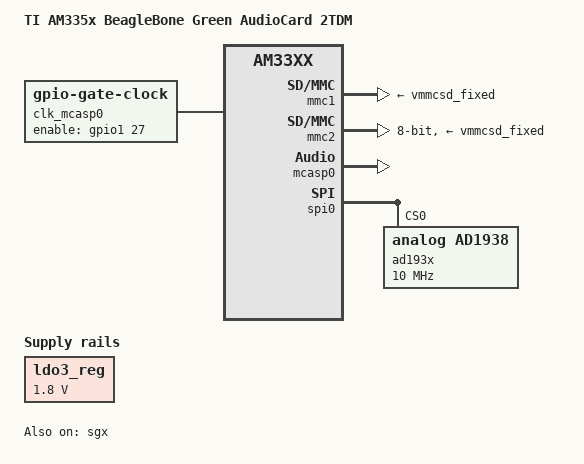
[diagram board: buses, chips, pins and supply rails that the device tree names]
/*
 * Copyright (C) 2012 Texas Instruments Incorporated - http://www.ti.com/
 *
 * This program is free software; you can redistribute it and/or modify
 * it under the terms of the GNU General Public License version 2 as
 * published by the Free Software Foundation.
 */
/dts-v1/;

#include "am33xx.dtsi"
#include "am335x-bone-common.dtsi"

/ {
	model = "TI AM335x BeagleBone Green AudioCard 2TDM";
	compatible = "ti,am335x-bone-green", "ti,am335x-bone-black", "ti,am335x-bone", "ti,am33xx";
};

&ldo3_reg {
	regulator-min-microvolt = <1800000>;
	regulator-max-microvolt = <1800000>;
	regulator-always-on;
};

&mmc1 {
	vmmc-supply = <&vmmcsd_fixed>;
};

&mmc2 {
	vmmc-supply = <&vmmcsd_fixed>;
	pinctrl-names = "default";
	pinctrl-0 = <&emmc_pins>;
	bus-width = <8>;
	status = "okay";
};

&sgx {
	status = "okay";
};

&am33xx_pinmux {
	mcasp0_pins: mcasp0_pins {
		pinctrl-single,pins = <
			0x1ac (PIN_INPUT_PULLUP | MUX_MODE0)	/* mcasp0_ahclkx.mcasp0_ahclkx */
			0x19c (PIN_OUTPUT_PULLDOWN | MUX_MODE2) /* mcasp0_ahclkr.mcasp0_axr2 */
			0x194 (PIN_INPUT_PULLDOWN | MUX_MODE0)	/* mcasp0_fsx.mcasp0_fsx */
			0x190 (PIN_INPUT_PULLDOWN | MUX_MODE0)	/* mcasp0_aclkx.mcasp0_aclkx */
			0x198 (PIN_INPUT_PULLDOWN | MUX_MODE0)	/* mcasp0_axr0.mcasp0_axr0 */
			0x06c (PIN_OUTPUT_PULLDOWN | MUX_MODE7)	/* gpmc_a11.GPIO1_27 */
			/*0x178 (PIN_OUTPUT_PULLUP | MUX_MODE7) /* reset for AD1938 AudioCard on P9_20 */
		>;
	};

	mcasp0_pins_sleep: mcasp0_pins_sleep {
		pinctrl-single,pins = <
			0x1ac (PIN_INPUT_PULLDOWN | MUX_MODE7)	/* mcasp0_ahclkx.mcasp0_ahclkx */
			0x19c (PIN_INPUT_PULLDOWN | MUX_MODE7)	/* mcasp0_ahclkr.mcasp0_axr2 */
			0x194 (PIN_INPUT_PULLDOWN | MUX_MODE7)	/* mcasp0_fsx.mcasp0_fsx */
			0x190 (PIN_INPUT_PULLDOWN | MUX_MODE7)	/* mcasp0_aclkx.mcasp0_aclkx */
			0x198 (PIN_INPUT_PULLDOWN | MUX_MODE7)	/* mcasp0_axr0.mcasp0_axr0 */
			0x06c (PIN_INPUT_PULLDOWN | MUX_MODE7)	/* gpmc_a11.GPIO1_27 */
			/*0x178 (PIN_OUTPUT_PULLDOWN | MUX_MODE7) /* reset for AD1938 AudioCard on P9_20 */
		>;
	};

	bb_spi0_pins: pinmux_bb_spi0_pins { 
		pinctrl-single,pins = <
			0x150 0x30				/* spi0_sclk.spi0_sclk, MODE0 | INPUT_PULLUP | SPI0_SCLK P9_22 */
            0x154 0x30				/* spi0_d0.spi0_d0, 	MODE0 | INPUT_PULLUP | SPI0_MISO P9_21 */
            0x158 0x10				/* spi0_d0.spi0_d1, 	MODE0 | OUTPUT_PULLUP | SPI0_MOSI P9_18 */
            0x15c 0x10				/* spi0_cs0.spi0_cs0, 	MODE0 | OUTPUT_PULLUP | SPI0_CS0 P9_17 */
		>;
	};
};

&mcasp0	{
	pinctrl-names = "default", "sleep";
	pinctrl-0 = <&mcasp0_pins>;
	pinctrl-1 = <&mcasp0_pins_sleep>;
	status = "okay";
	op-mode = <0>;	/* MCASP_IIS_MODE */
	tdm-slots = <4>;
	serial-dir = <	/* 0: INACTIVE, 1: TX, 2: RX */
			2 0 1 0
		>;
	tx-num-evt = <1>;
	rx-num-evt = <1>;
};

&spi0 {
	pinctrl-names = "default";
	pinctrl-0 = <&bb_spi0_pins>;
	status = "okay";

	/* avoid dtc warnings */
	#address-cells = <1>;
	#size-cells = <0>;

	ad193x: ad193x@0{
		spi-max-frequency = <10000000>;
		reg = <0>;
		compatible = "analog,ad1938";
	};
};

/ {
	clk_mcasp0_fixed: clk_mcasp0_fixed {
	      #clock-cells = <0>;
	      compatible = "fixed-clock";
	      clock-frequency = <24576000>;
	};

	clk_mcasp0: clk_mcasp0 {
	      #clock-cells = <0>;
	      compatible = "gpio-gate-clock";
	      clocks = <&clk_mcasp0_fixed>;
	      enable-gpios = <&gpio1 27 0>; /* BeagleBone Black Clk enable on GPIO1_27 */
	};

	sound {
		compatible = "audiocard,audiocard";
		model = "AD193X Card";
		audio-codec = <&ad193x>;
		mcasp-controller = <&mcasp0>;
		audiocard-tdm-slots = <4>;
		codec-clock-rate = <24576000>;
		cpu-clock-rate = <24576000>;
		audio-routing =
			"Line Out",             "DAC1OUT",
			"Line Out",             "DAC2OUT",
			"Line Out",             "DAC3OUT",
			"Line Out",             "DAC4OUT",
			"ADC1IN",               "Line In",
			"ADC2IN",               "Line In";
		clocks = <&clk_mcasp0>;
		clock-names = "mclk";
	};
};
